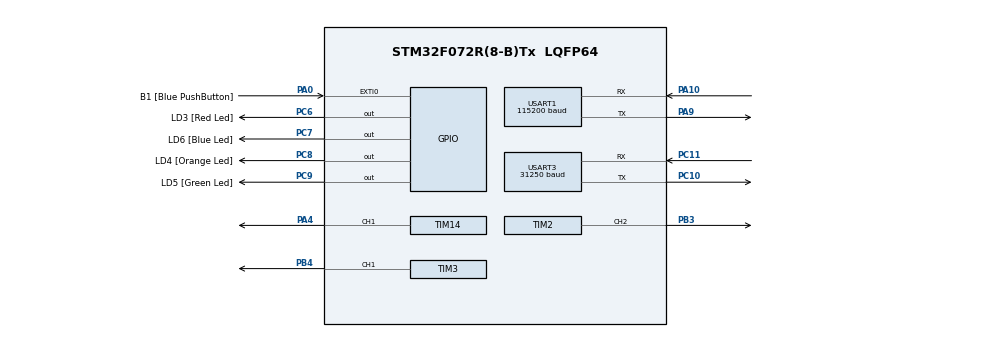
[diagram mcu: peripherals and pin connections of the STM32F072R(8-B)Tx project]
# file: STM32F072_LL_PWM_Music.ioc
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FREERTOS.Queues01=uartMidiQueue,3,MIDI_UART_RxBuffer_t,0,Static,uartMidiQueueBuffer,uartMidiQueueControlBlock
FREERTOS.Tasks01=defaultTask,24,128,StartDefaultTask,Default,NULL,Dynamic,NULL,NULL;TrackOneTask,24,128,StartTrackOneTask,Default,NULL,Static,TrackOneBuffer,TrackOneControlBlock;TrackTwoTask,24,128,StartTrackTwoTask,Default,NULL,Static,TrackTwoBuffer,TrackTwoControlBlock;uartMidiTask,24,128,StartUartMidiTask,Default,NULL,Static,uartMidiTaskBuffer,uartMidiTaskControlBlock
Mcu.Family=STM32F0
Mcu.Name=STM32F072R(8-B)Tx
Mcu.Package=LQFP64
NVIC.TIM15_IRQn=true\:3\:0\:false\:false\:true\:false\:false\:true\:true
NVIC.TimeBase=TIM15_IRQn
NVIC.TimeBaseIP=TIM15
NVIC.USART3_4_IRQn=true\:3\:0\:false\:false\:true\:true\:true\:true\:true
PA0.GPIO_Label=B1 [Blue PushButton]
PA0.GPIO_ModeDefaultEXTI=GPIO_MODE_EVT_RISING
PA0.Signal=GPXTI0
PA10.Mode=Asynchronous
PA10.Signal=USART1_RX
PA13.GPIO_Label=SWDIO
PA13.Mode=Serial_Wire
PA13.Signal=SYS_SWDIO
PA14.GPIO_Label=SWCLK
PA14.Mode=Serial_Wire
PA14.Signal=SYS_SWCLK
PA4.GPIO_Speed=GPIO_SPEED_FREQ_HIGH
PA4.Signal=S_TIM14_CH1
PA9.Mode=Asynchronous
PA9.Signal=USART1_TX
PB3.GPIO_Speed=GPIO_SPEED_FREQ_HIGH
PB3.Signal=S_TIM2_CH2
PB4.GPIO_Speed=GPIO_SPEED_FREQ_HIGH
PB4.Signal=S_TIM3_CH1
PC10.Mode=Asynchronous
PC10.Signal=USART3_TX
PC11.Mode=Asynchronous
PC11.Signal=USART3_RX
PC6.GPIO_Label=LD3 [Red Led]
PC6.Signal=GPIO_Output
PC7.GPIO_Label=LD6 [Blue Led]
PC7.Signal=GPIO_Output
PC8.GPIO_Label=LD4 [Orange Led]
PC8.Signal=GPIO_Output
PC9.GPIO_Label=LD5 [Green Led]
PC9.Signal=GPIO_Output
PF0-OSC_IN.Mode=HSE-External-Oscillator
PF0-OSC_IN.Signal=RCC_OSC_IN
PF1-OSC_OUT.Mode=HSE-External-Oscillator
PF1-OSC_OUT.Signal=RCC_OSC_OUT
ProjectManager.HeapSize=0x200
ProjectManager.StackSize=0x400
ProjectManager.TargetToolchain=STM32CubeIDE
RCC.AHBFreq_Value=48000000
RCC.APB1Freq_Value=48000000
RCC.APB1TimFreq_Value=48000000
RCC.HCLKFreq_Value=48000000
RCC.PLLMUL=RCC_PLL_MUL6
RCC.SYSCLKFreq_VALUE=48000000
RCC.SYSCLKSource=RCC_SYSCLKSOURCE_PLLCLK
SH.S_TIM14_CH1.0=TIM14_CH1,PWM Generation1 CH1
SH.S_TIM2_CH2.0=TIM2_CH2,PWM Generation2 CH2
SH.S_TIM3_CH1.0=TIM3_CH1,PWM Generation1 CH1
TIM14.Channel=TIM_CHANNEL_1
TIM14.Period=299
TIM14.Prescaler=159
TIM14.Pulse=149
TIM2.Channel-PWM\ Generation2\ CH2=TIM_CHANNEL_2
TIM2.Period=299
TIM2.Prescaler=159
TIM2.Pulse-PWM\ Generation2\ CH2=149
TIM3.Channel-PWM\ Generation1\ CH1=TIM_CHANNEL_1
TIM3.Period=299
TIM3.Prescaler=159
TIM3.Pulse-PWM\ Generation1\ CH1=149
USART1.BaudRate=115200
USART1.VirtualMode-Asynchronous=VM_ASYNC
USART1.WordLength=WORDLENGTH_8B
USART3.BaudRate=31250
USART3.VirtualMode-Asynchronous=VM_ASYNC
VP_FREERTOS_VS_CMSIS_V2.Mode=CMSIS_V2
VP_SYS_VS_tim15.Mode=TIM15
VP_TIM14_VS_ClockSourceINT.Mode=Enable_Timer
VP_TIM2_VS_ClockSourceINT.Mode=Internal
VP_TIM3_VS_ClockSourceINT.Mode=Internal
board=STM32F072B-DISCO

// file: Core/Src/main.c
/* USER CODE BEGIN Header */
/**
  ******************************************************************************
  * @file           : main.c
  * @brief          : Main program body
  ******************************************************************************
  * @attention
  *
  * Copyright (c) 2022 STMicroelectronics.
  * All rights reserved.
  *
  * This software is licensed under terms that can be found in the LICENSE file
  * in the root directory of this software component.
  * If no LICENSE file comes with this software, it is provided AS-IS.
  *
  ******************************************************************************
  */
/* USER CODE END Header */
#include "main.h"
#include "cmsis_os.h"

/* USER CODE BEGIN Includes */
#include "string.h"
#include "songs.h"
#include "usart3.h"
#include "music.h"
/* USER CODE END Includes */

typedef StaticTask_t osStaticThreadDef_t;
typedef StaticQueue_t osStaticMessageQDef_t;

/* Definitions for defaultTask */
osThreadId_t defaultTaskHandle;
const osThreadAttr_t defaultTask_attributes = {
  .name = "defaultTask",
  .stack_size = 128 * 4,
  .priority = (osPriority_t) osPriorityNormal,
};
/* Definitions for TrackOneTask */
osThreadId_t TrackOneTaskHandle;
uint32_t TrackOneBuffer[ 128 ];
osStaticThreadDef_t TrackOneControlBlock;
const osThreadAttr_t TrackOneTask_attributes = {
  .name = "TrackOneTask",
  .cb_mem = &TrackOneControlBlock,
  .cb_size = sizeof(TrackOneControlBlock),
  .stack_mem = &TrackOneBuffer[0],
  .stack_size = sizeof(TrackOneBuffer),
  .priority = (osPriority_t) osPriorityNormal,
};
/* Definitions for TrackTwoTask */
osThreadId_t TrackTwoTaskHandle;
uint32_t TrackTwoBuffer[ 128 ];
osStaticThreadDef_t TrackTwoControlBlock;
const osThreadAttr_t TrackTwoTask_attributes = {
  .name = "TrackTwoTask",
  .cb_mem = &TrackTwoControlBlock,
  .cb_size = sizeof(TrackTwoControlBlock),
  .stack_mem = &TrackTwoBuffer[0],
  .stack_size = sizeof(TrackTwoBuffer),
  .priority = (osPriority_t) osPriorityNormal,
};
/* Definitions for uartMidiTask */
osThreadId_t uartMidiTaskHandle;
uint32_t uartMidiTaskBuffer[ 128 ];
osStaticThreadDef_t uartMidiTaskControlBlock;
const osThreadAttr_t uartMidiTask_attributes = {
  .name = "uartMidiTask",
  .cb_mem = &uartMidiTaskControlBlock,
  .cb_size = sizeof(uartMidiTaskControlBlock),
  .stack_mem = &uartMidiTaskBuffer[0],
  .stack_size = sizeof(uartMidiTaskBuffer),
  .priority = (osPriority_t) osPriorityNormal,
};
/* Definitions for uartMidiQueue */
osMessageQueueId_t uartMidiQueueHandle;
uint8_t uartMidiQueueBuffer[ 3 * sizeof( MIDI_UART_RxBuffer_t ) ];
osStaticMessageQDef_t uartMidiQueueControlBlock;
const osMessageQueueAttr_t uartMidiQueue_attributes = {
  .name = "uartMidiQueue",
  .cb_mem = &uartMidiQueueControlBlock,
  .cb_size = sizeof(uartMidiQueueControlBlock),
  .mq_mem = &uartMidiQueueBuffer,
  .mq_size = sizeof(uartMidiQueueBuffer)
};
/* USER CODE BEGIN PV */
uint32_t sysTickCounter = 0;
/* USER CODE END PV */

void SystemClock_Config(void);
static void MX_GPIO_Init(void);
static void MX_USART1_UART_Init(void);
static void MX_TIM14_Init(void);
static void MX_TIM2_Init(void);
static void MX_TIM3_Init(void);
static void MX_USART3_UART_Init(void);
void StartDefaultTask(void *argument);
void StartTrackOneTask(void *argument);
void StartTrackTwoTask(void *argument);
void StartUartMidiTask(void *argument);

/* USER CODE BEGIN PFP */
void delay(uint32_t delayMs);
void print(char* msg);
/* USER CODE END PFP */

int main(void)
{

  /* MCU Configuration--------------------------------------------------------*/

  /* Reset of all peripherals, Initializes the Flash interface and the Systick. */
  HAL_Init();

  /* Configure the system clock */
  SystemClock_Config();

  /* Initialize all configured peripherals */
  MX_GPIO_Init();
  MX_USART1_UART_Init();
  MX_TIM14_Init();
  MX_TIM2_Init();
  MX_TIM3_Init();
  MX_USART3_UART_Init();

  /* Init scheduler */
  osKernelInitialize();

  /* Create the queue(s) */
  /* creation of uartMidiQueue */
  uartMidiQueueHandle = osMessageQueueNew (3, sizeof(MIDI_UART_RxBuffer_t), &uartMidiQueue_attributes);

  /* Create the thread(s) */
  /* creation of defaultTask */
  defaultTaskHandle = osThreadNew(StartDefaultTask, NULL, &defaultTask_attributes);

  /* creation of TrackOneTask */
  TrackOneTaskHandle = osThreadNew(StartTrackOneTask, NULL, &TrackOneTask_attributes);

  /* creation of TrackTwoTask */
  TrackTwoTaskHandle = osThreadNew(StartTrackTwoTask, NULL, &TrackTwoTask_attributes);

  /* creation of uartMidiTask */
  uartMidiTaskHandle = osThreadNew(StartUartMidiTask, NULL, &uartMidiTask_attributes);

  /* Start scheduler */
  osKernelStart();

  /* We should never get here as control is now taken by the scheduler */
  /* Infinite loop */
  while (1)
  {

  }
}

void SystemClock_Config(void)
{
  LL_FLASH_SetLatency(LL_FLASH_LATENCY_1);
  while(LL_FLASH_GetLatency() != LL_FLASH_LATENCY_1)
  {
  }
  LL_RCC_HSI_Enable();

   /* Wait till HSI is ready */
  while(LL_RCC_HSI_IsReady() != 1)
  {

  }
  LL_RCC_HSI_SetCalibTrimming(16);
  LL_RCC_PLL_ConfigDomain_SYS(LL_RCC_PLLSOURCE_HSI, LL_RCC_PLL_MUL_6, LL_RCC_PREDIV_DIV_1);
  LL_RCC_PLL_Enable();

   /* Wait till PLL is ready */
  while(LL_RCC_PLL_IsReady() != 1)
  {

  }
  LL_RCC_SetAHBPrescaler(LL_RCC_SYSCLK_DIV_1);
  LL_RCC_SetAPB1Prescaler(LL_RCC_APB1_DIV_1);
  LL_RCC_SetSysClkSource(LL_RCC_SYS_CLKSOURCE_PLL);

   /* Wait till System clock is ready */
  while(LL_RCC_GetSysClkSource() != LL_RCC_SYS_CLKSOURCE_STATUS_PLL)
  {

  }
  LL_SetSystemCoreClock(48000000);

   /* Update the time base */
  if (HAL_InitTick (TICK_INT_PRIORITY) != HAL_OK)
  {
    Error_Handler();
  }
  LL_RCC_SetUSARTClockSource(LL_RCC_USART1_CLKSOURCE_PCLK1);
}

static void MX_TIM2_Init(void)
{

  LL_TIM_InitTypeDef TIM_InitStruct = {0};
  LL_TIM_OC_InitTypeDef TIM_OC_InitStruct = {0};

  LL_GPIO_InitTypeDef GPIO_InitStruct = {0};

  /* Peripheral clock enable */
  LL_APB1_GRP1_EnableClock(LL_APB1_GRP1_PERIPH_TIM2);

  TIM_InitStruct.Prescaler = 159;
  TIM_InitStruct.CounterMode = LL_TIM_COUNTERMODE_UP;
  TIM_InitStruct.Autoreload = 299;
  TIM_InitStruct.ClockDivision = LL_TIM_CLOCKDIVISION_DIV1;
  LL_TIM_Init(TIM2, &TIM_InitStruct);
  LL_TIM_DisableARRPreload(TIM2);
  LL_TIM_SetClockSource(TIM2, LL_TIM_CLOCKSOURCE_INTERNAL);
  LL_TIM_OC_EnablePreload(TIM2, LL_TIM_CHANNEL_CH2);
  TIM_OC_InitStruct.OCMode = LL_TIM_OCMODE_PWM1;
  TIM_OC_InitStruct.OCState = LL_TIM_OCSTATE_DISABLE;
  TIM_OC_InitStruct.OCNState = LL_TIM_OCSTATE_DISABLE;
  TIM_OC_InitStruct.CompareValue = 149;
  TIM_OC_InitStruct.OCPolarity = LL_TIM_OCPOLARITY_HIGH;
  LL_TIM_OC_Init(TIM2, LL_TIM_CHANNEL_CH2, &TIM_OC_InitStruct);
  LL_TIM_OC_DisableFast(TIM2, LL_TIM_CHANNEL_CH2);
  LL_TIM_SetTriggerOutput(TIM2, LL_TIM_TRGO_RESET);
  LL_TIM_DisableMasterSlaveMode(TIM2);
  LL_AHB1_GRP1_EnableClock(LL_AHB1_GRP1_PERIPH_GPIOB);
  /**TIM2 GPIO Configuration
  PB3   ------> TIM2_CH2
  */
  GPIO_InitStruct.Pin = LL_GPIO_PIN_3;
  GPIO_InitStruct.Mode = LL_GPIO_MODE_ALTERNATE;
  GPIO_InitStruct.Speed = LL_GPIO_SPEED_FREQ_HIGH;
  GPIO_InitStruct.OutputType = LL_GPIO_OUTPUT_PUSHPULL;
  GPIO_InitStruct.Pull = LL_GPIO_PULL_NO;
  GPIO_InitStruct.Alternate = LL_GPIO_AF_2;
  LL_GPIO_Init(GPIOB, &GPIO_InitStruct);

}

static void MX_TIM3_Init(void)
{

  LL_TIM_InitTypeDef TIM_InitStruct = {0};
  LL_TIM_OC_InitTypeDef TIM_OC_InitStruct = {0};

  LL_GPIO_InitTypeDef GPIO_InitStruct = {0};

  /* Peripheral clock enable */
  LL_APB1_GRP1_EnableClock(LL_APB1_GRP1_PERIPH_TIM3);

  TIM_InitStruct.Prescaler = 159;
  TIM_InitStruct.CounterMode = LL_TIM_COUNTERMODE_UP;
  TIM_InitStruct.Autoreload = 299;
  TIM_InitStruct.ClockDivision = LL_TIM_CLOCKDIVISION_DIV1;
  LL_TIM_Init(TIM3, &TIM_InitStruct);
  LL_TIM_DisableARRPreload(TIM3);
  LL_TIM_SetClockSource(TIM3, LL_TIM_CLOCKSOURCE_INTERNAL);
  LL_TIM_OC_EnablePreload(TIM3, LL_TIM_CHANNEL_CH1);
  TIM_OC_InitStruct.OCMode = LL_TIM_OCMODE_PWM1;
  TIM_OC_InitStruct.OCState = LL_TIM_OCSTATE_DISABLE;
  TIM_OC_InitStruct.OCNState = LL_TIM_OCSTATE_DISABLE;
  TIM_OC_InitStruct.CompareValue = 149;
  TIM_OC_InitStruct.OCPolarity = LL_TIM_OCPOLARITY_HIGH;
  LL_TIM_OC_Init(TIM3, LL_TIM_CHANNEL_CH1, &TIM_OC_InitStruct);
  LL_TIM_OC_DisableFast(TIM3, LL_TIM_CHANNEL_CH1);
  LL_TIM_SetTriggerOutput(TIM3, LL_TIM_TRGO_RESET);
  LL_TIM_DisableMasterSlaveMode(TIM3);
  LL_AHB1_GRP1_EnableClock(LL_AHB1_GRP1_PERIPH_GPIOB);
  /**TIM3 GPIO Configuration
  PB4   ------> TIM3_CH1
  */
  GPIO_InitStruct.Pin = LL_GPIO_PIN_4;
  GPIO_InitStruct.Mode = LL_GPIO_MODE_ALTERNATE;
  GPIO_InitStruct.Speed = LL_GPIO_SPEED_FREQ_HIGH;
  GPIO_InitStruct.OutputType = LL_GPIO_OUTPUT_PUSHPULL;
  GPIO_InitStruct.Pull = LL_GPIO_PULL_NO;
  GPIO_InitStruct.Alternate = LL_GPIO_AF_1;
  LL_GPIO_Init(GPIOB, &GPIO_InitStruct);

}

static void MX_TIM14_Init(void)
{

  LL_TIM_InitTypeDef TIM_InitStruct = {0};
  LL_TIM_OC_InitTypeDef TIM_OC_InitStruct = {0};

  LL_GPIO_InitTypeDef GPIO_InitStruct = {0};

  /* Peripheral clock enable */
  LL_APB1_GRP1_EnableClock(LL_APB1_GRP1_PERIPH_TIM14);

  TIM_InitStruct.Prescaler = 159;
  TIM_InitStruct.CounterMode = LL_TIM_COUNTERMODE_UP;
  TIM_InitStruct.Autoreload = 299;
  TIM_InitStruct.ClockDivision = LL_TIM_CLOCKDIVISION_DIV1;
  LL_TIM_Init(TIM14, &TIM_InitStruct);
  LL_TIM_DisableARRPreload(TIM14);
  LL_TIM_OC_EnablePreload(TIM14, LL_TIM_CHANNEL_CH1);
  TIM_OC_InitStruct.OCMode = LL_TIM_OCMODE_PWM1;
  TIM_OC_InitStruct.OCState = LL_TIM_OCSTATE_DISABLE;
  TIM_OC_InitStruct.OCNState = LL_TIM_OCSTATE_DISABLE;
  TIM_OC_InitStruct.CompareValue = 149;
  TIM_OC_InitStruct.OCPolarity = LL_TIM_OCPOLARITY_HIGH;
  LL_TIM_OC_Init(TIM14, LL_TIM_CHANNEL_CH1, &TIM_OC_InitStruct);
  LL_TIM_OC_DisableFast(TIM14, LL_TIM_CHANNEL_CH1);
  LL_AHB1_GRP1_EnableClock(LL_AHB1_GRP1_PERIPH_GPIOA);
  /**TIM14 GPIO Configuration
  PA4   ------> TIM14_CH1
  */
  GPIO_InitStruct.Pin = LL_GPIO_PIN_4;
  GPIO_InitStruct.Mode = LL_GPIO_MODE_ALTERNATE;
  GPIO_InitStruct.Speed = LL_GPIO_SPEED_FREQ_HIGH;
  GPIO_InitStruct.OutputType = LL_GPIO_OUTPUT_PUSHPULL;
  GPIO_InitStruct.Pull = LL_GPIO_PULL_NO;
  GPIO_InitStruct.Alternate = LL_GPIO_AF_4;
  LL_GPIO_Init(GPIOA, &GPIO_InitStruct);

}

static void MX_USART1_UART_Init(void)
{

  LL_USART_InitTypeDef USART_InitStruct = {0};

  LL_GPIO_InitTypeDef GPIO_InitStruct = {0};

  /* Peripheral clock enable */
  LL_APB1_GRP2_EnableClock(LL_APB1_GRP2_PERIPH_USART1);

  LL_AHB1_GRP1_EnableClock(LL_AHB1_GRP1_PERIPH_GPIOA);
  /**USART1 GPIO Configuration
  PA9   ------> USART1_TX
  PA10   ------> USART1_RX
  */
  GPIO_InitStruct.Pin = LL_GPIO_PIN_9;
  GPIO_InitStruct.Mode = LL_GPIO_MODE_ALTERNATE;
  GPIO_InitStruct.Speed = LL_GPIO_SPEED_FREQ_HIGH;
  GPIO_InitStruct.OutputType = LL_GPIO_OUTPUT_PUSHPULL;
  GPIO_InitStruct.Pull = LL_GPIO_PULL_NO;
  GPIO_InitStruct.Alternate = LL_GPIO_AF_1;
  LL_GPIO_Init(GPIOA, &GPIO_InitStruct);

  GPIO_InitStruct.Pin = LL_GPIO_PIN_10;
  GPIO_InitStruct.Mode = LL_GPIO_MODE_ALTERNATE;
  GPIO_InitStruct.Speed = LL_GPIO_SPEED_FREQ_HIGH;
  GPIO_InitStruct.OutputType = LL_GPIO_OUTPUT_PUSHPULL;
  GPIO_InitStruct.Pull = LL_GPIO_PULL_NO;
  GPIO_InitStruct.Alternate = LL_GPIO_AF_1;
  LL_GPIO_Init(GPIOA, &GPIO_InitStruct);

  USART_InitStruct.BaudRate = 115200;
  USART_InitStruct.DataWidth = LL_USART_DATAWIDTH_8B;
  USART_InitStruct.StopBits = LL_USART_STOPBITS_1;
  USART_InitStruct.Parity = LL_USART_PARITY_NONE;
  USART_InitStruct.TransferDirection = LL_USART_DIRECTION_TX_RX;
  USART_InitStruct.HardwareFlowControl = LL_USART_HWCONTROL_NONE;
  USART_InitStruct.OverSampling = LL_USART_OVERSAMPLING_16;
  LL_USART_Init(USART1, &USART_InitStruct);
  LL_USART_DisableIT_CTS(USART1);
  LL_USART_ConfigAsyncMode(USART1);
  LL_USART_Enable(USART1);

}

static void MX_USART3_UART_Init(void)
{

  LL_USART_InitTypeDef USART_InitStruct = {0};

  LL_GPIO_InitTypeDef GPIO_InitStruct = {0};

  /* Peripheral clock enable */
  LL_APB1_GRP1_EnableClock(LL_APB1_GRP1_PERIPH_USART3);

  LL_AHB1_GRP1_EnableClock(LL_AHB1_GRP1_PERIPH_GPIOC);
  /**USART3 GPIO Configuration
  PC10   ------> USART3_TX
  PC11   ------> USART3_RX
  */
  GPIO_InitStruct.Pin = LL_GPIO_PIN_10;
  GPIO_InitStruct.Mode = LL_GPIO_MODE_ALTERNATE;
  GPIO_InitStruct.Speed = LL_GPIO_SPEED_FREQ_HIGH;
  GPIO_InitStruct.OutputType = LL_GPIO_OUTPUT_PUSHPULL;
  GPIO_InitStruct.Pull = LL_GPIO_PULL_NO;
  GPIO_InitStruct.Alternate = LL_GPIO_AF_1;
  LL_GPIO_Init(GPIOC, &GPIO_InitStruct);

  GPIO_InitStruct.Pin = LL_GPIO_PIN_11;
  GPIO_InitStruct.Mode = LL_GPIO_MODE_ALTERNATE;
  GPIO_InitStruct.Speed = LL_GPIO_SPEED_FREQ_HIGH;
  GPIO_InitStruct.OutputType = LL_GPIO_OUTPUT_PUSHPULL;
  GPIO_InitStruct.Pull = LL_GPIO_PULL_NO;
  GPIO_InitStruct.Alternate = LL_GPIO_AF_1;
  LL_GPIO_Init(GPIOC, &GPIO_InitStruct);

  /* USART3 interrupt Init */
  NVIC_SetPriority(USART3_4_IRQn, 3);
  NVIC_EnableIRQ(USART3_4_IRQn);

  USART_InitStruct.BaudRate = 31250;
  USART_InitStruct.DataWidth = LL_USART_DATAWIDTH_8B;
  USART_InitStruct.StopBits = LL_USART_STOPBITS_1;
  USART_InitStruct.Parity = LL_USART_PARITY_NONE;
  USART_InitStruct.TransferDirection = LL_USART_DIRECTION_TX_RX;
  USART_InitStruct.HardwareFlowControl = LL_USART_HWCONTROL_NONE;
  USART_InitStruct.OverSampling = LL_USART_OVERSAMPLING_16;
  LL_USART_Init(USART3, &USART_InitStruct);
  LL_USART_DisableIT_CTS(USART3);
  LL_USART_ConfigAsyncMode(USART3);
  LL_USART_Enable(USART3);

}

static void MX_GPIO_Init(void)
{
  LL_EXTI_InitTypeDef EXTI_InitStruct = {0};
  LL_GPIO_InitTypeDef GPIO_InitStruct = {0};

  /* GPIO Ports Clock Enable */
  LL_AHB1_GRP1_EnableClock(LL_AHB1_GRP1_PERIPH_GPIOF);
  LL_AHB1_GRP1_EnableClock(LL_AHB1_GRP1_PERIPH_GPIOA);
  LL_AHB1_GRP1_EnableClock(LL_AHB1_GRP1_PERIPH_GPIOC);
  LL_AHB1_GRP1_EnableClock(LL_AHB1_GRP1_PERIPH_GPIOB);

  /**/
  LL_GPIO_ResetOutputPin(LD3_GPIO_Port, LD3_Pin);

  /**/
  LL_GPIO_ResetOutputPin(LD6_GPIO_Port, LD6_Pin);

  /**/
  LL_GPIO_ResetOutputPin(LD4_GPIO_Port, LD4_Pin);

  /**/
  LL_GPIO_ResetOutputPin(LD5_GPIO_Port, LD5_Pin);

  /**/
  LL_SYSCFG_SetEXTISource(LL_SYSCFG_EXTI_PORTA, LL_SYSCFG_EXTI_LINE0);

  /**/
  LL_GPIO_SetPinPull(B1_GPIO_Port, B1_Pin, LL_GPIO_PULL_NO);

  /**/
  LL_GPIO_SetPinMode(B1_GPIO_Port, B1_Pin, LL_GPIO_MODE_INPUT);

  /**/
  EXTI_InitStruct.Line_0_31 = LL_EXTI_LINE_0;
  EXTI_InitStruct.LineCommand = ENABLE;
  EXTI_InitStruct.Mode = LL_EXTI_MODE_EVENT;
  EXTI_InitStruct.Trigger = LL_EXTI_TRIGGER_RISING;
  LL_EXTI_Init(&EXTI_InitStruct);

  /**/
  GPIO_InitStruct.Pin = LD3_Pin;
  GPIO_InitStruct.Mode = LL_GPIO_MODE_OUTPUT;
  GPIO_InitStruct.Speed = LL_GPIO_SPEED_FREQ_LOW;
  GPIO_InitStruct.OutputType = LL_GPIO_OUTPUT_PUSHPULL;
  GPIO_InitStruct.Pull = LL_GPIO_PULL_NO;
  LL_GPIO_Init(LD3_GPIO_Port, &GPIO_InitStruct);

  /**/
  GPIO_InitStruct.Pin = LD6_Pin;
  GPIO_InitStruct.Mode = LL_GPIO_MODE_OUTPUT;
  GPIO_InitStruct.Speed = LL_GPIO_SPEED_FREQ_LOW;
  GPIO_InitStruct.OutputType = LL_GPIO_OUTPUT_PUSHPULL;
  GPIO_InitStruct.Pull = LL_GPIO_PULL_NO;
  LL_GPIO_Init(LD6_GPIO_Port, &GPIO_InitStruct);

  /**/
  GPIO_InitStruct.Pin = LD4_Pin;
  GPIO_InitStruct.Mode = LL_GPIO_MODE_OUTPUT;
  GPIO_InitStruct.Speed = LL_GPIO_SPEED_FREQ_LOW;
  GPIO_InitStruct.OutputType = LL_GPIO_OUTPUT_PUSHPULL;
  GPIO_InitStruct.Pull = LL_GPIO_PULL_NO;
  LL_GPIO_Init(LD4_GPIO_Port, &GPIO_InitStruct);

  /**/
  GPIO_InitStruct.Pin = LD5_Pin;
  GPIO_InitStruct.Mode = LL_GPIO_MODE_OUTPUT;
  GPIO_InitStruct.Speed = LL_GPIO_SPEED_FREQ_LOW;
  GPIO_InitStruct.OutputType = LL_GPIO_OUTPUT_PUSHPULL;
  GPIO_InitStruct.Pull = LL_GPIO_PULL_NO;
  LL_GPIO_Init(LD5_GPIO_Port, &GPIO_InitStruct);

}

/* USER CODE BEGIN 4 */
/**
 * @brief Wait in blocking mode for x ms.
 */
void delay(uint32_t delayMs)
{
  uint32_t starttime = sysTickCounter;

  while ((starttime + delayMs) > sysTickCounter)
  {
    /* wait */
  }
}

/**
 * @brief Print message on uart1.
 *        Only print up to 80 chars to uart1.
 */
void print(char* msg)
{
  assert_param(msg != NULL);

  uint8_t msgLen = strnlen(msg, 80);

  for (uint8_t i = 0; i < msgLen; i++)
  {
    LL_USART_TransmitData8(USART1, *(msg + i));
    while (0 == LL_USART_IsActiveFlag_TC(USART1))
    {
      /* wait till char transmission is completed */
    }
    LL_USART_ClearFlag_TC(USART1);
  }
}
/* USER CODE END 4 */

void StartDefaultTask(void *argument)
{
  /* USER CODE BEGIN 5 */
  /* Infinite loop */
  for(;;)
  {
    print("Hello World!\r\n");
    LL_GPIO_TogglePin(LD4_GPIO_Port, LD4_Pin);
    osDelay(1000);
  }
  /* USER CODE END 5 */
}

void StartTrackOneTask(void *argument)
{
  /* USER CODE BEGIN StartTrackOneTask */
//  SONGS_Play_Tetris_LeftHand();
//  SONGS_Play_TetrisRagtime_LeftHand();
//  SONGS_Play_Zelda_LeftHand();
//  SONGS_Play_ACDC();
//  SONGS_Play_SuperMario();
  /* Infinite loop */
  for(;;)
  {
    osDelay(osWaitForever);
  }
  /* USER CODE END StartTrackOneTask */
}

void StartTrackTwoTask(void *argument)
{
  /* USER CODE BEGIN StartTrackTwoTask */
//  SONGS_Play_Tetris_RightHand();
//  SONGS_Play_TetrisRagtime_RightHand();
//  SONGS_Play_Zelda_RightHand();
  /* Infinite loop */
  for(;;)
  {
    osDelay(osWaitForever);
  }
  /* USER CODE END StartTrackTwoTask */
}

void StartUartMidiTask(void *argument)
{
  /* USER CODE BEGIN StartUartMidiTask */
//  const char msg[] = "Hello from Uart Midi Task\r\n";
  MIDI_UART_RxBuffer_t midiCmdBuffer = { 0 };
  Speaker_t left = { TIM14, LL_TIM_CHANNEL_CH1 }; /* PA4 */
  uint32_t midiFrequencyArray[] =
  {
          c1   ,
          cis1 ,
          d1   ,
          dis1 ,
          e1   ,
          f1   ,
          fis1 ,
          g1   ,
          gis1 ,
          a1   ,
          ais1 ,
          h1   ,
          c2   ,
          cis2 ,
          d2   ,
          dis2 ,
          e2   ,
          f2   ,
          fis2 ,
          g2   ,
          gis2 ,
          a2   ,
          ais2 ,
          h2   ,
          c3   ,
          cis3 ,
          d3   ,
          dis3 ,
          e3   ,
          f3   ,
          fis3 ,
          g3   ,
          gis3 ,
          a3   ,
          ais3 ,
          h3   ,
          c4   ,
          cis4 ,
          d4   ,
          dis4 ,
          e4   ,
          f4   ,
          fis4 ,
          g4   ,
          gis4 ,
          a4   ,
          ais4 ,
          h4   ,
          c5   ,
          cis5 ,
          d5   ,
          dis5 ,
          e5   ,
          f5   ,
          fis5 ,
          g5   ,
          gis5 ,
          a5   ,
          ais5 ,
          h5   ,
          c6   ,
  };

  MIDI_UART_Init();

  for(;;)
  {
    osMessageQueueGet(uartMidiQueueHandle, &midiCmdBuffer,NULL, osWaitForever);

    switch (midiCmdBuffer.data[0])
    {
        case 0x80:
            MUSIC_Stop(left);
//            MUSIC_Stop(left);
            break;

        case 0x90:
            if (midiCmdBuffer.data[1] < sizeof(midiFrequencyArray))
            {
                MUSIC_PlayCont(left, midiFrequencyArray[midiCmdBuffer.data[1]]);
            }
//            MUSIC_PlayCont(left, c5);
            break;
    }

  }
  /* USER CODE END StartUartMidiTask */
}

void HAL_TIM_PeriodElapsedCallback(TIM_HandleTypeDef *htim)
{
  if (htim->Instance == TIM15) {
    HAL_IncTick();
  }
}

void Error_Handler(void)
{
  /* USER CODE BEGIN Error_Handler_Debug */
  while (1)
  {
    LL_GPIO_TogglePin(LD3_GPIO_Port, LD3_Pin);
    delay(200);
  }
  /* USER CODE END Error_Handler_Debug */
}

#ifdef  USE_FULL_ASSERT
/**
  * @brief  Reports the name of the source file and the source line number
  *         where the assert_param error has occurred.
  * @param  file: pointer to the source file name
  * @param  line: assert_param error line source number
  * @retval None
  */
void assert_failed(uint8_t *file, uint32_t line)
{
  /* USER CODE BEGIN 6 */
  /* User can add his own implementation to report the file name and line number,
     ex: printf("Wrong parameters value: file %s on line %d\r\n", file, line) */
  Error_Handler();
  /* USER CODE END 6 */
}
#endif /* USE_FULL_ASSERT */
